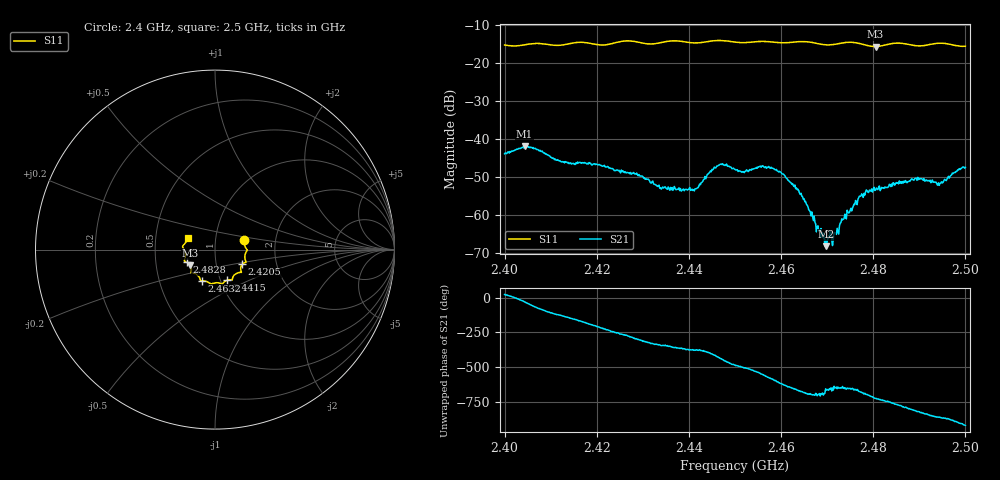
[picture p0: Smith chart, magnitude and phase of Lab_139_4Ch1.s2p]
# Hz S RI R 50
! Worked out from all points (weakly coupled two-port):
!   601 points, 2.4 GHz to 2.5 GHz, reference 50 ohm
!   highest |S21| = -41.93 dB at 2.4043 GHz (marker M1); lowest = -68.2 dB at 2.4698 GHz (marker M2)
!   lowest |S11| = -15.7 dB at 2.4805 GHz (marker M3), VSWR 1.39, Z = 37.3 - j6.69 ohm
!   |S11| at or under -10 dB: start of sweep to end of sweep
!   S12 and S22 are empty: the file has one direction only
!   S11 on the Smith chart (normalised r, x): 2.4 GHz: 1.38, +0.15; 2.4205 GHz: 1.34, -0.22; 2.4415 GHz: 1.07, -0.38; 2.4632 GHz: 0.82, -0.29; 2.4828 GHz: 0.72, -0.10; 2.5 GHz: 0.73, +0.10
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2.4e9  0.1638 0.0516  0.00592 0.00235  0 0  0 0
2.404333e9  0.1725 0.00801  0.0068 -0.00423  0 0  0 0
2.4125e9  0.1663 -0.0427  -0.00336 -0.00375  0 0  0 0
2.416667e9  0.1728 -0.0699  -0.00472 -0.000757  0 0  0 0
2.4205e9  0.152 -0.0816  -0.0039 0.00246  0 0  0 0
2.428333e9  0.1425 -0.1272  0.00157 0.0031  0 0  0 0
2.433333e9  0.1004 -0.1514  0.00225 0.000828  0 0  0 0
2.4415e9  0.0657 -0.1707  0.0021 -0.0007  0 0  0 0
2.4465e9  0.0406 -0.193  0.00148 -0.00425  0 0  0 0
2.45e9  0.0244 -0.1862  -0.00224 -0.00329  0 0  0 0
2.457833e9  -0.0307 -0.1865  -0.00317 0.00284  0 0  0 0
2.463167e9  -0.0732 -0.1739  0.000992 0.00198  0 0  0 0
2.466667e9  -0.0821 -0.1669  0.001 0.000444  0 0  0 0
2.469833e9  -0.0975 -0.1425  0.000218 0.000322  0 0  0 0
2.4715e9  -0.1138 -0.1328  7.22e-05 0.00058  0 0  0 0
2.477167e9  -0.1315 -0.1216  0.00127 0.00121  0 0  0 0
2.4805e9  -0.1389 -0.0873  0.00212 -0.000119  0 0  0 0
2.482833e9  -0.1587 -0.07  0.00208 -0.00102  0 0  0 0
2.483333e9  -0.1626 -0.0681  0.00208 -0.00111  0 0  0 0
2.489667e9  -0.1654 -0.0267  -0.000427 -0.0031  0 0  0 0
2.494333e9  -0.1806 0.0165  -0.00179 -0.00167  0 0  0 0
2.5e9  -0.1525 0.0643  -0.00403 0.00128  0 0  0 0
